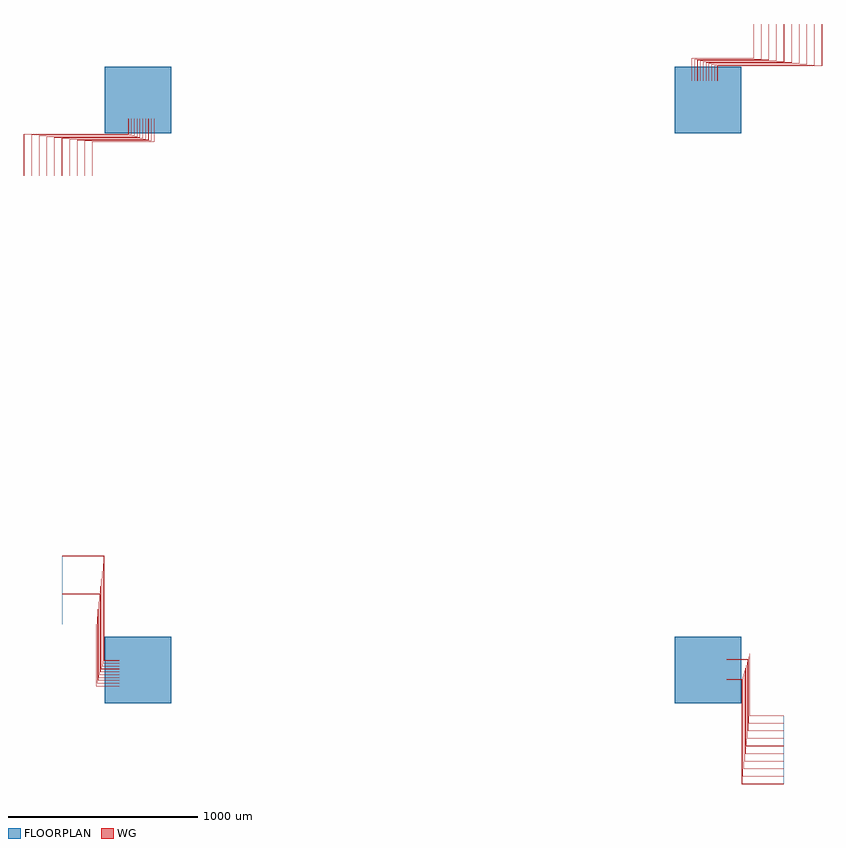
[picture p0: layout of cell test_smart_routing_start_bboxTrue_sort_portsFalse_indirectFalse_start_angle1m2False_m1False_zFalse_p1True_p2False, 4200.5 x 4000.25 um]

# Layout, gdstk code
import gdstk
lib = gdstk.Library(unit=1e-6, precision=1e-09)
def R(c, l, rs):  # rectangles x0, y0, x1, y1
    for r in rs: c.add(gdstk.rectangle(r[:2], r[2:], *l))
def P(c, l, *ps):  # polygons
    for p in ps: c.add(gdstk.Polygon(p, *l))
WG = (1, 0)
FLOORPLAN = (10, 0)

test_smart_routing_start = lib.new_cell('test_smart_routing_start_bboxTrue_sort_portsFalse_indirectFalse_start_angle1m2False_m1False_zFalse_p1True_p2False')
P(test_smart_routing_start, WG, [(-179.5,49.75),(-179.5,599.75),(-400,599.75),(-400,599.95),(-179.3,599.95),(-179.3,49.95),(-100,49.95),(-100,49.75)],
  [(-179.2,50.05),(-179.2,600.05),(-400,600.05),(-400,600.25),(-179,600.25),(-179,50.25),(-100,50.25),(-100,50.05)],
  [(-184,34.75),(-184,559.75),(-400,559.75),(-400,559.95),(-183.8,559.95),(-183.8,34.95),(-100,34.95),(-100,34.75)],
  [(-183.7,35.05),(-183.7,560.05),(-400,560.05),(-400,560.25),(-183.5,560.25),(-183.5,35.25),(-100,35.25),(-100,35.05)],
  [(-188.5,19.75),(-188.5,519.75),(-400,519.75),(-400,519.95),(-188.3,519.95),(-188.3,19.95),(-100,19.95),(-100,19.75)],
  [(-188.2,20.05),(-188.2,520.05),(-400,520.05),(-400,520.25),(-188,520.25),(-188,20.25),(-100,20.25),(-100,20.05)],
  [(-193,4.75),(-193,479.75),(-400,479.75),(-400,479.95),(-192.8,479.95),(-192.8,4.95),(-100,4.95),(-100,4.75)],
  [(-192.7,5.05),(-192.7,480.05),(-400,480.05),(-400,480.25),(-192.5,480.25),(-192.5,5.25),(-100,5.25),(-100,5.05)],
  [(-197.5,-10.25),(-197.5,439.75),(-400,439.75),(-400,439.95),(-197.3,439.95),(-197.3,-10.05),(-100,-10.05),(-100,-10.25)],
  [(-197.2,-9.95),(-197.2,440.05),(-400,440.05),(-400,440.25),(-197,440.25),(-197,-9.75),(-100,-9.75),(-100,-9.95)],
  [(-202,-25.25),(-202,399.75),(-400,399.75),(-400,399.95),(-201.8,399.95),(-201.8,-25.05),(-100,-25.05),(-100,-25.25)],
  [(-201.7,-24.95),(-201.7,400.05),(-400,400.05),(-400,400.25),(-201.5,400.25),(-201.5,-24.75),(-100,-24.75),(-100,-24.95)],
  [(-206.5,-40.25),(-206.5,359.75),(-400,359.75),(-400,359.95),(-206.3,359.95),(-206.3,-40.05),(-100,-40.05),(-100,-40.25)],
  [(-206.2,-39.95),(-206.2,360.05),(-400,360.05),(-400,360.25),(-206,360.25),(-206,-39.75),(-100,-39.75),(-100,-39.95)],
  [(-211,-55.25),(-211,319.75),(-400,319.75),(-400,319.95),(-210.8,319.95),(-210.8,-55.05),(-100,-55.05),(-100,-55.25)],
  [(-210.7,-54.95),(-210.7,320.05),(-400,320.05),(-400,320.25),(-210.5,320.25),(-210.5,-54.75),(-100,-54.75),(-100,-54.95)],
  [(-215.5,-70.25),(-215.5,279.75),(-400,279.75),(-400,279.95),(-215.3,279.95),(-215.3,-70.05),(-100,-70.05),(-100,-70.25)],
  [(-215.2,-69.95),(-215.2,280.05),(-400,280.05),(-400,280.25),(-215,280.25),(-215,-69.75),(-100,-69.75),(-100,-69.95)],
  [(-220,-85.25),(-220,239.75),(-400,239.75),(-400,239.95),(-219.8,239.95),(-219.8,-85.05),(-100,-85.05),(-100,-85.25)],
  [(-219.7,-84.95),(-219.7,240.05),(-400,240.05),(-400,240.25),(-219.5,240.25),(-219.5,-84.75),(-100,-84.75),(-100,-84.95)],
  [(-600.25,2600),(-600.25,2821),(-50.25,2821),(-50.25,2900),(-50.05,2900),(-50.05,2820.8),(-600.05,2820.8),(-600.05,2600)],
  [(-599.95,2600),(-599.95,2820.7),(-49.95,2820.7),(-49.95,2900),(-49.75,2900),(-49.75,2820.5),(-599.75,2820.5),(-599.75,2600)],
  [(-560.25,2600),(-560.25,2816.5),(-35.25,2816.5),(-35.25,2900),(-35.05,2900),(-35.05,2816.3),(-560.05,2816.3),(-560.05,2600)],
  [(-559.95,2600),(-559.95,2816.2),(-34.95,2816.2),(-34.95,2900),(-34.75,2900),(-34.75,2816),(-559.75,2816),(-559.75,2600)],
  [(-520.25,2600),(-520.25,2812),(-20.25,2812),(-20.25,2900),(-20.05,2900),(-20.05,2811.8),(-520.05,2811.8),(-520.05,2600)],
  [(-519.95,2600),(-519.95,2811.7),(-19.95,2811.7),(-19.95,2900),(-19.75,2900),(-19.75,2811.5),(-519.75,2811.5),(-519.75,2600)],
  [(-480.25,2600),(-480.25,2807.5),(-5.25,2807.5),(-5.25,2900),(-5.05,2900),(-5.05,2807.3),(-480.05,2807.3),(-480.05,2600)],
  [(-479.95,2600),(-479.95,2807.2),(-4.95,2807.2),(-4.95,2900),(-4.75,2900),(-4.75,2807),(-479.75,2807),(-479.75,2600)],
  [(-440.25,2600),(-440.25,2803),(9.75,2803),(9.75,2900),(9.95,2900),(9.95,2802.8),(-440.05,2802.8),(-440.05,2600)],
  [(-439.95,2600),(-439.95,2802.7),(10.05,2802.7),(10.05,2900),(10.25,2900),(10.25,2802.5),(-439.75,2802.5),(-439.75,2600)],
  [(-400.25,2600),(-400.25,2798.5),(24.75,2798.5),(24.75,2900),(24.95,2900),(24.95,2798.3),(-400.05,2798.3),(-400.05,2600)],
  [(-399.95,2600),(-399.95,2798.2),(25.05,2798.2),(25.05,2900),(25.25,2900),(25.25,2798),(-399.75,2798),(-399.75,2600)],
  [(-360.25,2600),(-360.25,2794),(39.75,2794),(39.75,2900),(39.95,2900),(39.95,2793.8),(-360.05,2793.8),(-360.05,2600)],
  [(-359.95,2600),(-359.95,2793.7),(40.05,2793.7),(40.05,2900),(40.25,2900),(40.25,2793.5),(-359.75,2793.5),(-359.75,2600)],
  [(-320.25,2600),(-320.25,2789.5),(54.75,2789.5),(54.75,2900),(54.95,2900),(54.95,2789.3),(-320.05,2789.3),(-320.05,2600)],
  [(-319.95,2600),(-319.95,2789.2),(55.05,2789.2),(55.05,2900),(55.25,2900),(55.25,2789),(-319.75,2789),(-319.75,2600)],
  [(-280.25,2600),(-280.25,2785),(69.75,2785),(69.75,2900),(69.95,2900),(69.95,2784.8),(-280.05,2784.8),(-280.05,2600)],
  [(-279.95,2600),(-279.95,2784.7),(70.05,2784.7),(70.05,2900),(70.25,2900),(70.25,2784.5),(-279.75,2784.5),(-279.75,2600)],
  [(-240.25,2600),(-240.25,2780.5),(84.75,2780.5),(84.75,2900),(84.95,2900),(84.95,2780.3),(-240.05,2780.3),(-240.05,2600)],
  [(-239.95,2600),(-239.95,2780.2),(85.05,2780.2),(85.05,2900),(85.25,2900),(85.25,2780),(-239.75,2780),(-239.75,2600)],
  [(3179,-600.25),(3179,-50.25),(3100,-50.25),(3100,-50.05),(3179.2,-50.05),(3179.2,-600.05),(3400,-600.05),(3400,-600.25)],
  [(3179.3,-599.95),(3179.3,-49.95),(3100,-49.95),(3100,-49.75),(3179.5,-49.75),(3179.5,-599.75),(3400,-599.75),(3400,-599.95)],
  [(3183.5,-560.25),(3183.5,-35.25),(3100,-35.25),(3100,-35.05),(3183.7,-35.05),(3183.7,-560.05),(3400,-560.05),(3400,-560.25)],
  [(3183.8,-559.95),(3183.8,-34.95),(3100,-34.95),(3100,-34.75),(3184,-34.75),(3184,-559.75),(3400,-559.75),(3400,-559.95)],
  [(3188,-520.25),(3188,-20.25),(3100,-20.25),(3100,-20.05),(3188.2,-20.05),(3188.2,-520.05),(3400,-520.05),(3400,-520.25)],
  [(3188.3,-519.95),(3188.3,-19.95),(3100,-19.95),(3100,-19.75),(3188.5,-19.75),(3188.5,-519.75),(3400,-519.75),(3400,-519.95)],
  [(3192.5,-480.25),(3192.5,-5.25),(3100,-5.25),(3100,-5.05),(3192.7,-5.05),(3192.7,-480.05),(3400,-480.05),(3400,-480.25)],
  [(3192.8,-479.95),(3192.8,-4.95),(3100,-4.95),(3100,-4.75),(3193,-4.75),(3193,-479.75),(3400,-479.75),(3400,-479.95)],
  [(3197,-440.25),(3197,9.75),(3100,9.75),(3100,9.95),(3197.2,9.95),(3197.2,-440.05),(3400,-440.05),(3400,-440.25)],
  [(3197.3,-439.95),(3197.3,10.05),(3100,10.05),(3100,10.25),(3197.5,10.25),(3197.5,-439.75),(3400,-439.75),(3400,-439.95)],
  [(3201.5,-400.25),(3201.5,24.75),(3100,24.75),(3100,24.95),(3201.7,24.95),(3201.7,-400.05),(3400,-400.05),(3400,-400.25)],
  [(3201.8,-399.95),(3201.8,25.05),(3100,25.05),(3100,25.25),(3202,25.25),(3202,-399.75),(3400,-399.75),(3400,-399.95)],
  [(3206,-360.25),(3206,39.75),(3100,39.75),(3100,39.95),(3206.2,39.95),(3206.2,-360.05),(3400,-360.05),(3400,-360.25)],
  [(3206.3,-359.95),(3206.3,40.05),(3100,40.05),(3100,40.25),(3206.5,40.25),(3206.5,-359.75),(3400,-359.75),(3400,-359.95)],
  [(3210.5,-320.25),(3210.5,54.75),(3100,54.75),(3100,54.95),(3210.7,54.95),(3210.7,-320.05),(3400,-320.05),(3400,-320.25)],
  [(3210.8,-319.95),(3210.8,55.05),(3100,55.05),(3100,55.25),(3211,55.25),(3211,-319.75),(3400,-319.75),(3400,-319.95)],
  [(3215,-280.25),(3215,69.75),(3100,69.75),(3100,69.95),(3215.2,69.95),(3215.2,-280.05),(3400,-280.05),(3400,-280.25)],
  [(3215.3,-279.95),(3215.3,70.05),(3100,70.05),(3100,70.25),(3215.5,70.25),(3215.5,-279.75),(3400,-279.75),(3400,-279.95)],
  [(3219.5,-240.25),(3219.5,84.75),(3100,84.75),(3100,84.95),(3219.7,84.95),(3219.7,-240.05),(3400,-240.05),(3400,-240.25)],
  [(3219.8,-239.95),(3219.8,85.05),(3100,85.05),(3100,85.25),(3220,85.25),(3220,-239.75),(3400,-239.75),(3400,-239.95)],
  [(3049.75,3100),(3049.75,3179.5),(3599.75,3179.5),(3599.75,3400),(3599.95,3400),(3599.95,3179.3),(3049.95,3179.3),(3049.95,3100)],
  [(3050.05,3100),(3050.05,3179.2),(3600.05,3179.2),(3600.05,3400),(3600.25,3400),(3600.25,3179),(3050.25,3179),(3050.25,3100)],
  [(3034.75,3100),(3034.75,3184),(3559.75,3184),(3559.75,3400),(3559.95,3400),(3559.95,3183.8),(3034.95,3183.8),(3034.95,3100)],
  [(3035.05,3100),(3035.05,3183.7),(3560.05,3183.7),(3560.05,3400),(3560.25,3400),(3560.25,3183.5),(3035.25,3183.5),(3035.25,3100)],
  [(3019.75,3100),(3019.75,3188.5),(3519.75,3188.5),(3519.75,3400),(3519.95,3400),(3519.95,3188.3),(3019.95,3188.3),(3019.95,3100)],
  [(3020.05,3100),(3020.05,3188.2),(3520.05,3188.2),(3520.05,3400),(3520.25,3400),(3520.25,3188),(3020.25,3188),(3020.25,3100)],
  [(3004.75,3100),(3004.75,3193),(3479.75,3193),(3479.75,3400),(3479.95,3400),(3479.95,3192.8),(3004.95,3192.8),(3004.95,3100)],
  [(3005.05,3100),(3005.05,3192.7),(3480.05,3192.7),(3480.05,3400),(3480.25,3400),(3480.25,3192.5),(3005.25,3192.5),(3005.25,3100)],
  [(2989.75,3100),(2989.75,3197.5),(3439.75,3197.5),(3439.75,3400),(3439.95,3400),(3439.95,3197.3),(2989.95,3197.3),(2989.95,3100)],
  [(2990.05,3100),(2990.05,3197.2),(3440.05,3197.2),(3440.05,3400),(3440.25,3400),(3440.25,3197),(2990.25,3197),(2990.25,3100)],
  [(2974.75,3100),(2974.75,3202),(3399.75,3202),(3399.75,3400),(3399.95,3400),(3399.95,3201.8),(2974.95,3201.8),(2974.95,3100)],
  [(2975.05,3100),(2975.05,3201.7),(3400.05,3201.7),(3400.05,3400),(3400.25,3400),(3400.25,3201.5),(2975.25,3201.5),(2975.25,3100)],
  [(2959.75,3100),(2959.75,3206.5),(3359.75,3206.5),(3359.75,3400),(3359.95,3400),(3359.95,3206.3),(2959.95,3206.3),(2959.95,3100)],
  [(2960.05,3100),(2960.05,3206.2),(3360.05,3206.2),(3360.05,3400),(3360.25,3400),(3360.25,3206),(2960.25,3206),(2960.25,3100)],
  [(2944.75,3100),(2944.75,3211),(3319.75,3211),(3319.75,3400),(3319.95,3400),(3319.95,3210.8),(2944.95,3210.8),(2944.95,3100)],
  [(2945.05,3100),(2945.05,3210.7),(3320.05,3210.7),(3320.05,3400),(3320.25,3400),(3320.25,3210.5),(2945.25,3210.5),(2945.25,3100)],
  [(2929.75,3100),(2929.75,3215.5),(3279.75,3215.5),(3279.75,3400),(3279.95,3400),(3279.95,3215.3),(2929.95,3215.3),(2929.95,3100)],
  [(2930.05,3100),(2930.05,3215.2),(3280.05,3215.2),(3280.05,3400),(3280.25,3400),(3280.25,3215),(2930.25,3215),(2930.25,3100)],
  [(2914.75,3100),(2914.75,3220),(3239.75,3220),(3239.75,3400),(3239.95,3400),(3239.95,3219.8),(2914.95,3219.8),(2914.95,3100)],
  [(2915.05,3100),(2915.05,3219.7),(3240.05,3219.7),(3240.05,3400),(3240.25,3400),(3240.25,3219.5),(2915.25,3219.5),(2915.25,3100)])
R(test_smart_routing_start, FLOORPLAN, [(-175,-175,175,175), (2825,-175,3175,175), (-175,2825,175,3175), (2825,2825,3175,3175)])
P(test_smart_routing_start, FLOORPLAN, [(-400,240),(-400,600),(-400,600),(-400,240)],
  [(-600,2600),(-600,2600),(-240,2600),(-240,2600)],
  [(3400,-600),(3400,-240),(3400,-240),(3400,-600)],
  [(3240,3400),(3240,3400),(3600,3400),(3600,3400)])

lib.write_gds('test_smart_routing_start_bboxTrue_sort_portsFalse_indirectFalse_start_angle1m2False_m1False_zFalse_p1True_p2False.gds')
